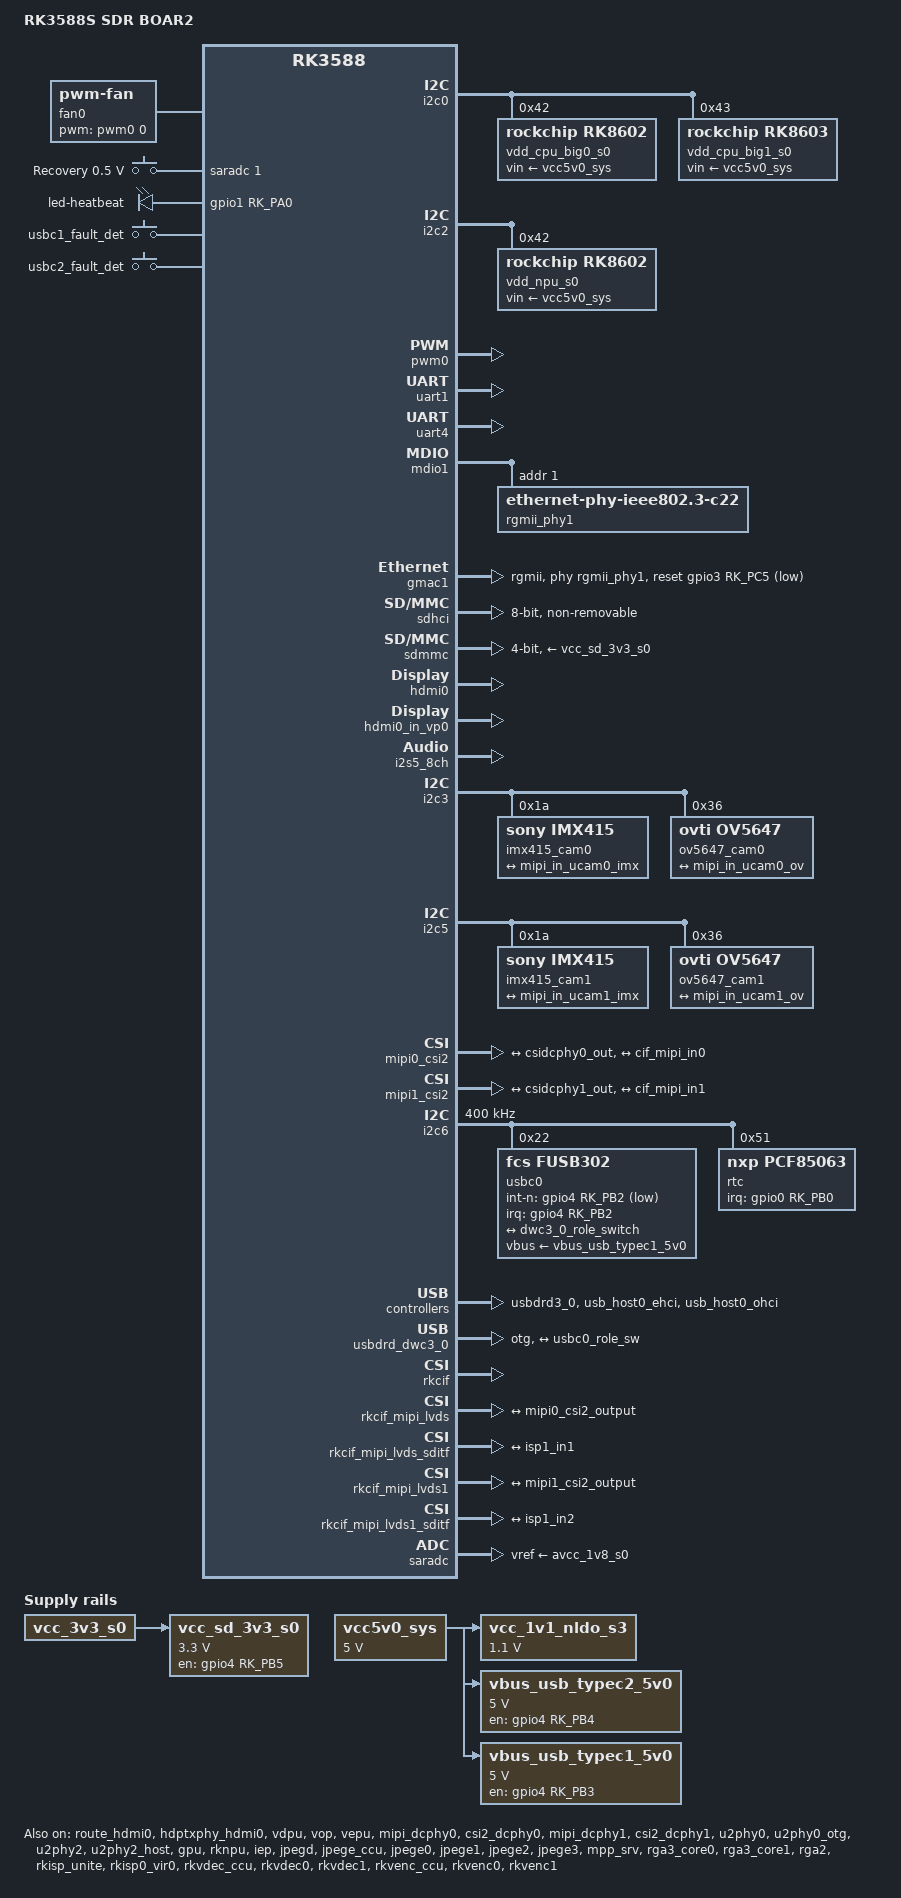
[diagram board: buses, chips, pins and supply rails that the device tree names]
// SPDX-License-Identifier: (GPL-2.0+ OR MIT)
/*
 *
 * Custom Device Tree for RK3588S Board 2
 */

/dts-v1/;

#include <dt-bindings/gpio/gpio.h>
#include <dt-bindings/input/input.h>
#include <dt-bindings/leds/common.h>
#include <dt-bindings/pwm/pwm.h>
#include <dt-bindings/pinctrl/rockchip.h>
#include <dt-bindings/input/rk-input.h>
#include <dt-bindings/display/drm_mipi_dsi.h>
#include <dt-bindings/display/rockchip_vop.h>
#include <dt-bindings/usb/pd.h>
#include <dt-bindings/sensor-dev.h>
#include "rk3588s.dtsi"
#include "rk3588-rk806-single.dtsi"
#include "rk3588-linux.dtsi"

/ {
	model = "RK3588S SDR BOAR2";
	compatible = "sdr,rk3588s", "rockchip,rk3588";

	fan0: pwm-fan {
		compatible = "pwm-fan";
		#cooling-cells = <2>;
		cooling-levels = <0 255>;
		pwms = <&pwm0 0 60000 0>;
	};

	vcc5v0_sys: vcc5v0-sys-regulator {
		compatible = "regulator-fixed";
		regulator-name = "vcc5v0_sys";
		regulator-always-on;
		regulator-boot-on;
		regulator-min-microvolt = <5000000>;
		regulator-max-microvolt = <5000000>;
	};

	vcc_1v1_nldo_s3: vcc-1v1-nldo-s3-regulator {
		compatible = "regulator-fixed";
		regulator-name = "vcc_1v1_nldo_s3";
		regulator-always-on;
		regulator-boot-on;
		regulator-min-microvolt = <1100000>;
		regulator-max-microvolt = <1100000>;
		vin-supply = <&vcc5v0_sys>;
	};

	vcc_sd_3v3_s0: regulator-vcc-sd {
		compatible = "regulator-fixed";
		regulator-name = "vcc_sd_3v3_s0";
		regulator-min-microvolt = <3300000>;
		regulator-max-microvolt = <3300000>;
		gpio = <&gpio4 RK_PB5 GPIO_ACTIVE_HIGH>;
		enable-active-high;
		vin-supply = <&vcc_3v3_s0>;
		pinctrl-names = "default";
		pinctrl-0 = <&sdmmc_pwren_33>;
	};

	vbus_usb_typec2_5v0: regulator-vbus-usb-typec2 {
		compatible = "regulator-fixed";
		regulator-name = "vbus_usb_typec2_5v0";
		regulator-min-microvolt = <5000000>;
		regulator-max-microvolt = <5000000>;
		gpio = <&gpio4 RK_PB4 GPIO_ACTIVE_HIGH>;
		enable-active-high;
		vin-supply = <&vcc5v0_sys>;
		pinctrl-names = "default";
		pinctrl-0 = <&vbus_typec2_5v0>;
	};

	vbus_usb_typec1_5v0: regulator-vbus-usb-typec1 {
		compatible = "regulator-fixed";
		regulator-name = "vbus_usb_typec1_5v0";
		regulator-min-microvolt = <5000000>;
		regulator-max-microvolt = <5000000>;
		gpio = <&gpio4 RK_PB3 GPIO_ACTIVE_HIGH>;
		enable-active-high;
		vin-supply = <&vcc5v0_sys>;
		pinctrl-names = "default";
		pinctrl-0 = <&vbus_typec1_5v0>;
	};

	hdmi0_sound: hdmi0-sound {
		status = "okay";
		compatible = "rockchip,hdmi";
		rockchip,mclk-fs = <128>;
		rockchip,card-name = "rockchip-hdmi0";
		rockchip,cpu = <&i2s5_8ch>;
		rockchip,codec = <&hdmi0>;
		rockchip,jack-det;
	};

	adc-keys {
		compatible = "adc-keys";
		io-channels = <&saradc 1>;
		io-channel-names = "buttons";
		keyup-threshold-microvolt = <1700000>;
		poll-interval = <100>;

		button-recovery {
			label = "Recovery";
			linux,code = <KEY_VENDOR>;
			press-threshold-microvolt = <500000>;
		};
	};

	gpio-leds {
		compatible = "gpio-leds";
		pinctrl-names = "default";

		led-heatbeat {
			gpios = <&gpio1 RK_PA0 GPIO_ACTIVE_HIGH>;
			linux,default-trigger = "heartbeat";
			default-state = "on";
		};
	};

	usb-fault-det {
		compatible = "gpio-keys";

		usbc1-fault-det {
			label = "usbc1_fault_det";
			gpio = <&gpio1 RK_PA3 GPIO_ACTIVE_HIGH>;
			linux,code = <KEY_VENDOR>;
		};

		usbc2-fault-det {
			label = "usbc2_fault_det";
			gpio = <&gpio1 RK_PA4 GPIO_ACTIVE_HIGH>;
			linux,code = <KEY_VENDOR>;
		};
	};
};

&rk806single {
	regulators {
		/delete-node/ PLDO_REG1;
		/delete-node/ PLDO_REG2;

		vcc_1v8_s0: PLDO_REG1 {
			regulator-always-on;
			regulator-boot-on;
			regulator-min-microvolt = <1800000>;
			regulator-max-microvolt = <1800000>;
			regulator-name = "vcc_1v8_s0";
			regulator-state-mem {
				regulator-off-in-suspend;
				regulator-suspend-microvolt = <1800000>;
			};
		};
			
		avcc_1v8_s0: PLDO_REG2 {
			regulator-always-on;
			regulator-boot-on;
			regulator-min-microvolt = <1800000>;
			regulator-max-microvolt = <1800000>;
			regulator-name = "avcc_1v8_s0";
			regulator-state-mem {
				regulator-off-in-suspend;
			};
		};
	};
};

&i2c0 {
	status = "okay";
	pinctrl-names = "default";
	pinctrl-0 = <&i2c0m2_xfer>;

	vdd_cpu_big0_s0: vdd_cpu_big0_mem_s0: rk8602@42 {
		compatible = "rockchip,rk8602";
		reg = <0x42>;
		vin-supply = <&vcc5v0_sys>;
		regulator-compatible = "rk860x-reg";
		regulator-name = "vdd_cpu_big0_s0";
		regulator-min-microvolt = <550000>;
		regulator-max-microvolt = <1050000>;
		regulator-ramp-delay = <2300>;
		rockchip,suspend-voltage-selector = <1>;
		regulator-boot-on;
		regulator-always-on;
		regulator-state-mem {
			regulator-off-in-suspend;
		};
	};

	vdd_cpu_big1_s0: vdd_cpu_big1_mem_s0: rk8603@43 {
		compatible = "rockchip,rk8603";
		reg = <0x43>;
		vin-supply = <&vcc5v0_sys>;
		regulator-compatible = "rk860x-reg";
		regulator-name = "vdd_cpu_big1_s0";
		regulator-min-microvolt = <550000>;
		regulator-max-microvolt = <1050000>;
		regulator-ramp-delay = <2300>;
		rockchip,suspend-voltage-selector = <1>;
		regulator-boot-on;
		regulator-always-on;
		regulator-state-mem {
			regulator-off-in-suspend;
		};
	};
};

&i2c2 {
	status = "okay";
	pinctrl-names = "default";
	pinctrl-0 = <&i2c2m0_xfer>;

	vdd_npu_s0: vdd_npu_mem_s0: rk8602@42 {
		compatible = "rockchip,rk8602";
		reg = <0x42>;
		vin-supply = <&vcc5v0_sys>;
		regulator-compatible = "rk860x-reg";
		regulator-name = "vdd_npu_s0";
		regulator-min-microvolt = <550000>;
		regulator-max-microvolt = <950000>;
		regulator-ramp-delay = <2300>;
		rockchip,suspend-voltage-selector = <1>;
		regulator-boot-on;
		regulator-always-on;
		regulator-state-mem {
			regulator-off-in-suspend;
		};
	};
};

&pwm0 {
	pinctrl-names = "default";
	pinctrl-0 = <&pwm0m2_pins>;
	status = "okay";
};

&threshold {
	temperature = <60000>;
};

&soc_thermal {
	sustainable-power = <5000>; /* milliwatts */
	cooling-maps {
		map4 {
			trip = <&target>;
			cooling-device =
				<&fan0 THERMAL_NO_LIMIT THERMAL_NO_LIMIT>;
			contribution = <8192>;
		};
		map5 {
			trip = <&threshold>;
			cooling-device =
				<&fan0 THERMAL_NO_LIMIT THERMAL_NO_LIMIT>;
			contribution = <8192>;
		};
	};
};

&rockchip_suspend {
	compatible = "rockchip,pm-rk3588";
	status = "okay";
	rockchip,sleep-debug-en = <1>;
	rockchip,sleep-mode-config = <
		(0
		| RKPM_SLP_ARMOFF_DDRPD
		)
	>;
	rockchip,wakeup-config = <
		(0
		| RKPM_GPIO_WKUP_EN
		| RKPM_USB_WKUP_EN
		)
	>;
};

&avdd_0v75_s0 {
	regulator-state-mem {
		regulator-on-in-suspend;
		regulator-suspend-microvolt = <837500>;
	};
};

&avcc_1v8_s0 {
	regulator-state-mem {
		regulator-on-in-suspend;
		regulator-suspend-microvolt = <1800000>;
	};
};

&vcc_1v8_s0 {
	regulator-state-mem {
		regulator-on-in-suspend;
		regulator-suspend-microvolt = <1800000>;
	};
};

&vcc_3v3_s0 {
	regulator-state-mem {
		regulator-on-in-suspend;
		regulator-suspend-microvolt = <3300000>;
	};
};

&vdd_log_s0 {
	regulator-state-mem {
		regulator-on-in-suspend;
		regulator-suspend-microvolt = <750000>;
	};
};

&vdd_ddr_pll_s0 {
	regulator-state-mem {
		regulator-on-in-suspend;
		regulator-suspend-microvolt = <850000>;
	};
};

&uart1 {
	pinctrl-names = "default";
	pinctrl-0 = <&uart1m1_xfer &uart1m1_ctsn &uart1m1_rtsn>;
	status = "okay";
};

&uart4 {
	pinctrl-names = "default";
	pinctrl-0 = <&uart4m2_xfer>;
	status = "okay";
};

/* Ethernet */

&mdio1 {
	rgmii_phy1: ethernet-phy@1 {
		compatible = "ethernet-phy-ieee802.3-c22";
		reg = <0x1>; 
	};
};

&gmac1 {
    status = "okay";
	phy-mode = "rgmii";
	clock_in_out = "output";
	
	snps,reset-gpio = <&gpio3 RK_PC5 GPIO_ACTIVE_LOW>; 
	snps,reset-active-low;
	// Reset time is 20ms, 100ms for rtl8211f
	snps,reset-delays-us = <0 20000 100000>;
	
	pinctrl-names = "default";
	pinctrl-0 = <&gmac1_miim
		     &gmac1_tx_bus2
		     &gmac1_rx_bus2
		     &gmac1_rgmii_clk
		     &gmac1_rgmii_bus>;
	
	tx_delay = <0x3a>;
	rx_delay = <0x3e>;
	phy-handle = <&rgmii_phy1>;
	max-speed = <1000>;
};

/* Storage */
/* eMMC */

&sdhci {
	bus-width = <8>;
	no-sdio;
	no-sd;
	non-removable;
	max-frequency = <200000000>;
	mmc-hs400-1_8v;
	mmc-hs400-enhanced-strobe;
	pinctrl-0 = <&emmc_rstnout &emmc_bus8 &emmc_clk &emmc_cmd &emmc_data_strobe>;
	status = "okay";
};

/* SD */
&sdmmc {
    max-frequency = <200000000>;
	no-sdio;
	no-mmc;
	bus-width = <4>;
	cap-sd-highspeed;
	disable-wp;
	sd-uhs-sdr104;
	pinctrl-names = "default";
	pinctrl-0 = <&sdmmc_bus4 &sdmmc_clk &sdmmc_cmd &sdmmc_det>;
	vmmc-supply = <&vcc_sd_3v3_s0>;
	vqmmc-supply = <&vccio_sd_s0>;
	status = "okay";
};

/* HDMI */

&hdmi0 {
	status = "okay";
	cec-enable = "true";
	enable-gpios = <&gpio4 RK_PB6 GPIO_ACTIVE_HIGH>;
	pinctrl-names = "default";
	pinctrl-0 = <&hdmim0_tx0_cec &hdmim0_tx0_hpd &hdmim0_tx0_scl &hdmim0_tx0_sda>;
};

&hdmi0_in_vp0 {
	status = "okay";
};

&route_hdmi0 {
	status = "okay";
};

&hdptxphy_hdmi0 {
	status = "okay";
};

&i2s5_8ch {
	status = "okay";
};

&vdpu {
	status = "okay";
};

&vdpu_mmu {
	status = "okay";
};

/* Video Ports */

&vop {
	status = "okay";
};

&vop_mmu {
	status = "okay";
};

&vepu {
	status = "okay";
};

/* vp0 & vp1 splice for 8K output */
&vp0 {
	rockchip,plane-mask = <(1 << ROCKCHIP_VOP2_CLUSTER0 | 1 << ROCKCHIP_VOP2_ESMART0)>;
	rockchip,primary-plane = <ROCKCHIP_VOP2_CLUSTER0>;
	cursor-win-id = <ROCKCHIP_VOP2_ESMART0>;
};

&vp1 {
	rockchip,plane-mask = <(1 << ROCKCHIP_VOP2_CLUSTER1 | 1 << ROCKCHIP_VOP2_ESMART1)>;
	rockchip,primary-plane = <ROCKCHIP_VOP2_CLUSTER1>;
	cursor-win-id = <ROCKCHIP_VOP2_ESMART1>;
};

&vp2 {
	rockchip,plane-mask = <(1 << ROCKCHIP_VOP2_CLUSTER2 | 1 << ROCKCHIP_VOP2_ESMART2)>;
	rockchip,primary-plane = <ROCKCHIP_VOP2_CLUSTER2>;
	cursor-win-id = <ROCKCHIP_VOP2_ESMART2>;
};

&vp3 {
	rockchip,plane-mask = <(1 << ROCKCHIP_VOP2_CLUSTER3 | 1 << ROCKCHIP_VOP2_ESMART3)>;
	rockchip,primary-plane = <ROCKCHIP_VOP2_CLUSTER3>;
	cursor-win-id = <ROCKCHIP_VOP2_ESMART3>;
};

&display_subsystem {
	clocks = <&hdptxphy_hdmi0>;
	clock-names = "hdmi0_phy_pll";
};

&hdptxphy_hdmi0 {
	status = "okay";
};

/* MIPI */

&i2c3 {
	status = "okay";
	pinctrl-names = "default";
	pinctrl-0 = <&i2c3m2_xfer>;

	imx415_cam0: imx415@1a {
		compatible = "sony,imx415";
		reg = <0x1a>;
		rockchip,camera-module-index = <0>;
		rockchip,camera-module-facing = "back";
		rockchip,camera-module-name = "CMK-OT2022-PX1";
		rockchip,camera-module-lens-name = "IR0147-36IRC-8M-F20";

		port {
			imx415_out0: endpoint {
				remote-endpoint = <&mipi_in_ucam0_imx>;
				data-lanes = <1 2 3 4>;
			};
		};
	};

	ov5647_cam0: ov5647@36 {
		compatible = "ovti,ov5647";
		reg = <0x36>;

		port {
			ov5647_out0: endpoint {
				remote-endpoint = <&mipi_in_ucam0_ov>;
				data-lanes = <1 2>;
			};
		};
	};
};

&i2c5 {
	status = "okay";
	pinctrl-names = "default";
	pinctrl-0 = <&i2c5m2_xfer>;

	imx415_cam1: imx415@1a {
		compatible = "sony,imx415";
		reg = <0x1a>;
		rockchip,camera-module-index = <0>;
		rockchip,camera-module-facing = "back";
		rockchip,camera-module-name = "CMK-OT2022-PX1";
		rockchip,camera-module-lens-name = "IR0147-36IRC-8M-F20";

		port {
			imx415_out1: endpoint {
				remote-endpoint = <&mipi_in_ucam1_imx>;
				data-lanes = <1 2 3 4>;
			};
		};
	};

	ov5647_cam1: ov5647@36 {
		compatible = "ovti,ov5647";
		reg = <0x36>;
		
		port {
			ov5647_out1: endpoint {
				remote-endpoint = <&mipi_in_ucam1_ov>;
				data-lanes = <1 2>;
			};
		};
	};
};

&mipi_dcphy0 {
	status = "okay";
};

&csi2_dcphy0 {
	status = "okay";
	
	ports {
		#address-cells = <1>;
		#size-cells = <0>;
		
		port@0 {
			reg = <0>;
			#address-cells = <1>;
			#size-cells = <0>;

			mipi_in_ucam0_imx: endpoint@0 {
				reg = <0>;
				remote-endpoint = <&imx415_out0>;
				data-lanes = <1 2 3 4>;
			};

			mipi_in_ucam0_ov: endpoint@1 {
				reg = <1>;
				remote-endpoint = <&ov5647_out0>;
				data-lanes = <1 2>;
			};
		};
		port@1 {
			reg = <1>;
			#address-cells = <1>;
			#size-cells = <0>;

			csidcphy0_out: endpoint@0 {
				reg = <0>;
				remote-endpoint = <&mipi0_csi2_input>;
			};
		};
	};
};

&mipi0_csi2 {
	status = "okay";

	ports {
		#address-cells = <1>;
		#size-cells = <0>;

		port@0 {
			reg = <0>;
			#address-cells = <1>;
			#size-cells = <0>;

			mipi0_csi2_input: endpoint@1 {
				reg = <1>;
				remote-endpoint = <&csidcphy0_out>;
			};
		};

		port@1 {
			reg = <1>;
			#address-cells = <1>;
			#size-cells = <0>;

			mipi0_csi2_output: endpoint@0 {
				reg = <0>;
				remote-endpoint = <&cif_mipi_in0>;
			};
		};
	};
};

&mipi_dcphy1 {
	status = "okay";
};

&csi2_dcphy1 {
	status = "okay";
	
	ports {
		#address-cells = <1>;
		#size-cells = <0>;
		
		port@0 {
			reg = <0>;
			#address-cells = <1>;
			#size-cells = <0>;

			mipi_in_ucam1_imx: endpoint@0 {
				reg = <0>;
				remote-endpoint = <&imx415_out1>;
				data-lanes = <1 2 3 4>;
			};

			mipi_in_ucam1_ov: endpoint@1 {
				reg = <1>;
				remote-endpoint = <&ov5647_out1>;
				data-lanes = <1 2>;
			};
		};
		port@1 {
			reg = <1>;
			#address-cells = <1>;
			#size-cells = <0>;

			csidcphy1_out: endpoint@0 {
				reg = <0>;
				remote-endpoint = <&mipi1_csi2_input>;
			};
		};
	};
};

&mipi1_csi2 {
	status = "okay";

	ports {
		#address-cells = <1>;
		#size-cells = <0>;

		port@0 {
			reg = <0>;
			#address-cells = <1>;
			#size-cells = <0>;

			mipi1_csi2_input: endpoint@1 {
				reg = <1>;
				remote-endpoint = <&csidcphy1_out>;
			};
		};

		port@1 {
			reg = <1>;
			#address-cells = <1>;
			#size-cells = <0>;

			mipi1_csi2_output: endpoint@0 {
				reg = <0>;
				remote-endpoint = <&cif_mipi_in1>;
			};
		};
	};
};
/* USB Type C */

&i2c6 {
	status = "okay";
	clock-frequency = <400000>;
	pinctrl-names = "default";
	pinctrl-0 = <&i2c6m3_xfer>;
 
	usbc0: fusb302@22 {
		compatible = "fcs,fusb302";
		reg = <0x22>;
		interrupt-parent = <&gpio4>;
		interrupts = <RK_PB2 IRQ_TYPE_LEVEL_LOW>;
		int-n-gpios =  <&gpio4 RK_PB2 GPIO_ACTIVE_LOW>;
		pinctrl-names = "default";
		pinctrl-0 = <&usbc0_int>;
		vbus-supply = <&vbus_usb_typec1_5v0>;
		status = "okay";

		ports {
			#address-cells = <1>;
			#size-cells = <0>;

			port@0 {
				reg = <0>;
				usbc0_role_sw: endpoint {
					remote-endpoint = <&dwc3_0_role_switch>;
				};
			};
		};
 
		usb_con: connector {
			compatible = "usb-c-connector";
			label = "USB-C";
			data-role = "dual";
			power-role = "dual";
			try-power-role = "sink";
			op-sink-microwatt = <15000000>;
			sink-pdos = <PDO_FIXED(5000, 3000, PDO_FIXED_USB_COMM)>;
			source-pdos = <PDO_FIXED(5000, 1000, PDO_FIXED_USB_COMM)>;
		};
	};
 
	rtc@51 {
		compatible = "nxp,pcf85063";
		reg = <0x51>;
		interrupt-parent = <&gpio0>;
		interrupts = <RK_PB0 IRQ_TYPE_EDGE_FALLING>;
		quartz-load-femtofarad = <12500>;
	};
};

&pinctrl {
	usb {
		usbc0_int: usbc0-int {
			rockchip,pins = <4 RK_PB2 RK_FUNC_GPIO &pcfg_pull_up>;
		};
		vbus_typec1_5v0: vbus-typec1-5v0-pin {
			rockchip,pins = <4 RK_PB3 RK_FUNC_GPIO &pcfg_pull_up>;
		};
		vbus_typec2_5v0: vbus-typec2-5v0-pin {
			rockchip,pins = <4 RK_PB4 RK_FUNC_GPIO &pcfg_pull_up>;
		};
	};
	
	power {
		sdmmc_pwren_33: sdmmc-pwren-33 {
			rockchip,pins = <4 RK_PB5 RK_FUNC_GPIO &pcfg_pull_up>;
		};
	};
};

&u2phy0 {
	status = "okay";
};

&u2phy0_otg {
	rockchip,typec-vbus-det;
	status = "okay";
};

&usbdrd3_0 {
	status = "okay";
};
 
&usbdrd_dwc3_0 {
	status = "okay";
	dr_mode = "otg";
	usb-role-switch;
	maximum-speed = "high-speed";
	
	port {
		#address-cells = <1>;
		#size-cells = <0>;

		dwc3_0_role_switch: endpoint@0 {
			reg = <0>;
			remote-endpoint = <&usbc0_role_sw>;
		};
	};
};

&u2phy2 {
	status = "okay";
};
	
&u2phy2_host {
	phy-supply = <&vbus_usb_typec2_5v0>;
	status = "okay";
};

&usb_host0_ehci 
{ 
	status = "okay"; 
};

&usb_host0_ohci { 
	status = "okay"; 
};

/* CPU */

&cpu_l0 {
	cpu-supply = <&vdd_cpu_lit_s0>;
	mem-supply = <&vdd_cpu_lit_mem_s0>;
};

&cpu_b0 {
	cpu-supply = <&vdd_cpu_big0_s0>;
	mem-supply = <&vdd_cpu_big0_mem_s0>;
};

&cpu_b2 {
	cpu-supply = <&vdd_cpu_big1_s0>;
	mem-supply = <&vdd_cpu_big1_mem_s0>;
};

/* GPU */

&gpu {
	mali-supply = <&vdd_gpu_s0>;
	mem-supply = <&vdd_gpu_mem_s0>;
	status = "okay";
};

/* NPU */

&rknpu {
	rknpu-supply = <&vdd_npu_s0>;
	mem-supply = <&vdd_npu_mem_s0>;
	status = "okay";
};

&rknpu_mmu {
	status = "okay";
};

&iep {
	status = "okay";
};

&iep_mmu {
	status = "okay";
};

&jpegd {
	status = "okay";
};

&jpegd_mmu {
	status = "okay";
};

&jpege_ccu {
	status = "okay";
};

&jpege0 {
	status = "okay";
};

&jpege0_mmu {
	status = "okay";
};

&jpege1 {
	status = "okay";
};

&jpege1_mmu {
	status = "okay";
};

&jpege2 {
	status = "okay";
};

&jpege2_mmu {
	status = "okay";
};

&jpege3 {
	status = "okay";
};

&jpege3_mmu {
	status = "okay";
};

&mpp_srv {
	status = "okay";
};

&rga3_core0 {
	status = "okay";
};

&rga3_0_mmu {
	status = "okay";
};

&rga3_core1 {
	status = "okay";
};

&rga3_1_mmu {
	status = "okay";
};

&rga2 {
	status = "okay";
};

&rkcif {
	status = "okay";
};

&rkcif_mipi_lvds {
	status = "okay";

	port {
		cif_mipi_in0: endpoint {
			remote-endpoint = <&mipi0_csi2_output>;
		};
	};
};

&rkcif_mipi_lvds_sditf {
	status = "okay";

	port {
		mipi_lvds_sditf: endpoint {
			remote-endpoint = <&isp1_in1>;
		};
	};
};

&rkcif_mipi_lvds1 {
	status = "okay";

	port {
		cif_mipi_in1: endpoint {
			remote-endpoint = <&mipi1_csi2_output>;
		};
	};
};

&rkcif_mipi_lvds1_sditf {
	status = "okay";

	port {
		mipi1_lvds_sditf: endpoint {
			remote-endpoint = <&isp1_in2>;
		};
	};
};

&rkcif_mmu {
	status = "okay";
};

&rkisp_unite {
	status = "okay";

};

&rkisp_unite_mmu {
	status = "okay";
};

&rkisp0_vir0 {
	status = "okay";
	/*
	 * dual isp process image case
	 * other rkisp hw and virtual nodes should disabled
	 */
	rockchip,hw = <&rkisp_unite>;
	port {
		#address-cells = <1>;
		#size-cells = <0>;

		isp1_in1: endpoint@0 {
			reg = <0>;
			remote-endpoint = <&mipi_lvds_sditf>;
		};
		isp1_in2: endpoint@1 {
			reg = <1>;
			remote-endpoint = <&mipi1_lvds_sditf>;
		};
	};
};

&rknpu {
	rknpu-supply = <&vdd_npu_s0>;
	mem-supply = <&vdd_npu_mem_s0>;
	status = "okay";
};

&rknpu_mmu {
	status = "okay";
};

&rkvdec_ccu {
	status = "okay";
};

&rkvdec0 {
	status = "okay";
};

&rkvdec0_mmu {
	status = "okay";
};

&rkvdec1 {
	status = "okay";
};

&rkvdec1_mmu {
	status = "okay";
};

&rkvenc_ccu {
	status = "okay";
};

&rkvenc0 {
	venc-supply = <&vdd_vdenc_s0>;
	mem-supply = <&vdd_vdenc_mem_s0>;
	status = "okay";
};

&rkvenc0_mmu {
	status = "okay";
};

&rkvenc1 {
	venc-supply = <&vdd_vdenc_s0>;
	mem-supply = <&vdd_vdenc_mem_s0>;
	status = "okay";
};

&rkvenc1_mmu {
	status = "okay";
};

&saradc {
	status = "okay";
	vref-supply = <&avcc_1v8_s0>;
};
